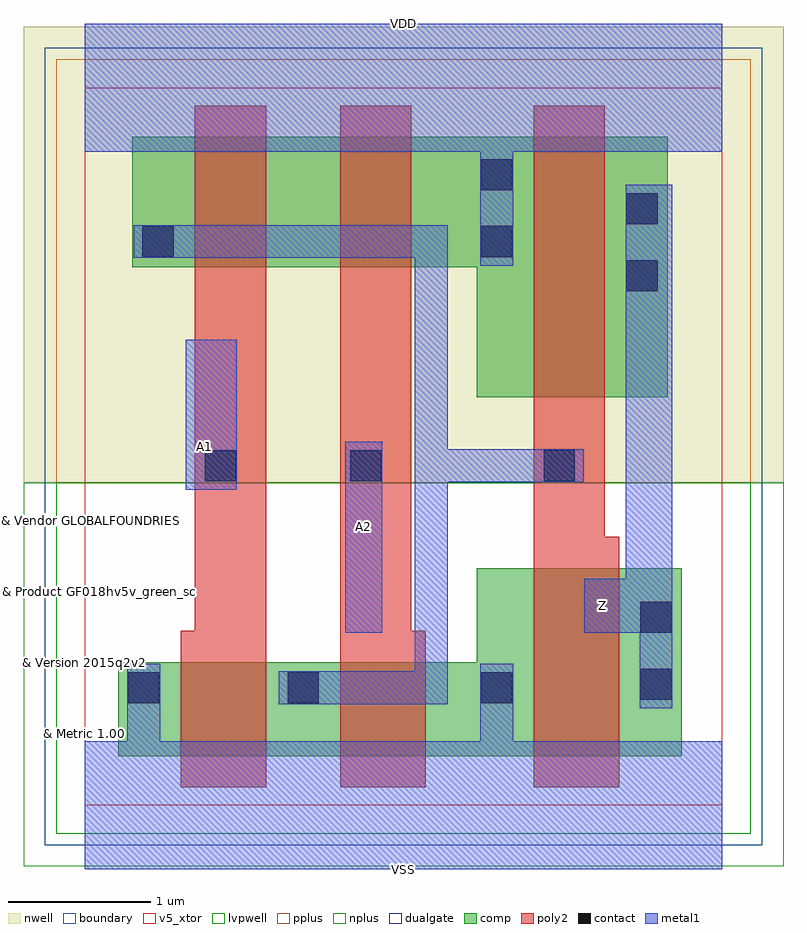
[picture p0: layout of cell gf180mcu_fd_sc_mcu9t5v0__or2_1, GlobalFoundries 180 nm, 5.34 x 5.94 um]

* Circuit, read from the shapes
.subckt gf180mcu_fd_sc_mcu9t5v0__or2_1 A1 A2 VDD VSS Z
XM1 n1 A1 VSS VSUBS nfet_05v0 w=0.66u l=0.6u
XM2 VSS A2 n1 VSUBS nfet_05v0 w=0.66u l=0.6u
XM3 Z n1 VSS VSUBS nfet_05v0 w=1.32u l=0.6u
XM4 n2 A1 n1 n3 pfet_05v0 w=0.915u l=0.5u
XM5 VDD A2 n2 n3 pfet_05v0 w=0.915u l=0.5u
XM6 Z n1 VDD n3 pfet_05v0 w=1.83u l=0.5u
.ends

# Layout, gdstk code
import gdstk
lib = gdstk.Library(unit=1e-6, precision=1e-09)
def R(c, l, rs):  # rectangles x0, y0, x1, y1
    for r in rs: c.add(gdstk.rectangle(r[:2], r[2:], *l))
def P(c, l, *ps):  # polygons
    for p in ps: c.add(gdstk.Polygon(p, *l))
boundary = (0, 0)
nwell = (21, 0)
comp = (22, 0)
poly2 = (30, 0)
pplus = (31, 0)
nplus = (32, 0)
contact = (33, 0)
metal1 = (34, 0)
dualgate = (55, 0)
v5_xtor = (112, 1)
lvpwell = (204, 0)

gf180mcu_fd_sc_mcu9t5v0_ = lib.new_cell('gf180mcu_fd_sc_mcu9t5v0__or2_1')
R(gf180mcu_fd_sc_mcu9t5v0_, boundary, [(0,0,4.48,5.04)])
R(gf180mcu_fd_sc_mcu9t5v0_, nwell, [(-0.43,2.265,4.91,5.47)])
P(gf180mcu_fd_sc_mcu9t5v0_, comp, [(2.755,2.865),(2.755,3.78),(0.335,3.78),(0.335,4.695),(4.095,4.695),(4.095,2.865)],
  [(0.235,0.345),(0.235,1.005),(2.755,1.005),(2.755,1.665),(4.195,1.665),(4.195,0.345)])
P(gf180mcu_fd_sc_mcu9t5v0_, poly2, [(0.675,0.125),(0.675,1.225),(0.775,1.225),(0.775,4.915),(1.275,4.915),(1.275,0.125)],
  [(1.795,0.125),(1.795,4.915),(2.295,4.915),(2.295,1.225),(2.395,1.225),(2.395,0.125)],
  [(3.155,0.125),(3.155,4.915),(3.655,4.915),(3.655,1.885),(3.755,1.885),(3.755,0.125)])
R(gf180mcu_fd_sc_mcu9t5v0_, pplus, [(-0.2,2.265,4.68,5.24)])
R(gf180mcu_fd_sc_mcu9t5v0_, nplus, [(-0.2,-0.2,4.68,2.265)])
R(gf180mcu_fd_sc_mcu9t5v0_, contact, [(0.305,0.715,0.525,0.935), (1.425,0.715,1.645,0.935), (2.785,0.715,3.005,0.935), (3.905,0.74,4.125,0.96), (3.905,1.21,4.125,1.43), (0.845,2.275,1.065,2.495), (1.865,2.275,2.085,2.495), (3.225,2.275,3.445,2.495), (3.805,3.61,4.025,3.83), (0.405,3.85,0.625,4.07), (2.785,3.85,3.005,4.07), (3.805,4.08,4.025,4.3), (2.785,4.32,3.005,4.54)])
R(gf180mcu_fd_sc_mcu9t5v0_, metal1, [(1.83,1.21,2.09,2.555), (0.71,2.215,1.07,3.27)])
P(gf180mcu_fd_sc_mcu9t5v0_, metal1, [(1.365,0.71),(1.365,0.94),(2.32,0.94),(2.32,3.845),(0.345,3.845),(0.345,4.075),(2.55,4.075),(2.55,2.5),(3.505,2.5),(3.505,2.27),(2.55,2.27),(2.55,0.71)],
  [(3.9,0.68),(3.9,1.21),(3.51,1.21),(3.51,1.59),(3.8,1.59),(3.8,4.36),(4.13,4.36),(4.13,0.68)],
  [(0,-0.45),(0,0.45),(0.3,0.45),(0.3,0.995),(0.53,0.995),(0.53,0.45),(2.78,0.45),(2.78,0.995),(3.01,0.995),(3.01,0.45),(4.48,0.45),(4.48,-0.45)],
  [(2.78,3.79),(2.78,4.59),(0,4.59),(0,5.49),(4.48,5.49),(4.48,4.59),(3.01,4.59),(3.01,3.79)])
R(gf180mcu_fd_sc_mcu9t5v0_, dualgate, [(-0.28,-0.28,4.76,5.32)])
R(gf180mcu_fd_sc_mcu9t5v0_, v5_xtor, [(0,0,4.48,5.04)])
R(gf180mcu_fd_sc_mcu9t5v0_, lvpwell, [(-0.43,-0.43,4.91,2.265)])
gf180mcu_fd_sc_mcu9t5v0_.add(gdstk.Label('A1', (0.84,2.52), layer=34, texttype=10))
gf180mcu_fd_sc_mcu9t5v0_.add(gdstk.Label('A2', (1.96,1.96), layer=34, texttype=10))
gf180mcu_fd_sc_mcu9t5v0_.add(gdstk.Label('VDD', (2.24,5.49), layer=34, texttype=10))
gf180mcu_fd_sc_mcu9t5v0_.add(gdstk.Label('VSS', (2.24,-0.45), layer=34, texttype=10))
gf180mcu_fd_sc_mcu9t5v0_.add(gdstk.Label('Z', (3.64,1.4), layer=34, texttype=10))
gf180mcu_fd_sc_mcu9t5v0_.add(gdstk.Label('& Vendor GLOBALFOUNDRIES', (0,2), layer=63, texttype=63))
gf180mcu_fd_sc_mcu9t5v0_.add(gdstk.Label('& Product GF018hv5v_green_sc9', (0,1.5), layer=63, texttype=63))
gf180mcu_fd_sc_mcu9t5v0_.add(gdstk.Label('& Version 2015q2v2', (0,1), layer=63, texttype=63))
gf180mcu_fd_sc_mcu9t5v0_.add(gdstk.Label('& Metric 1.00', (0,0.5), layer=63, texttype=63))

lib.write_gds('gf180mcu_fd_sc_mcu9t5v0__or2_1.gds')
